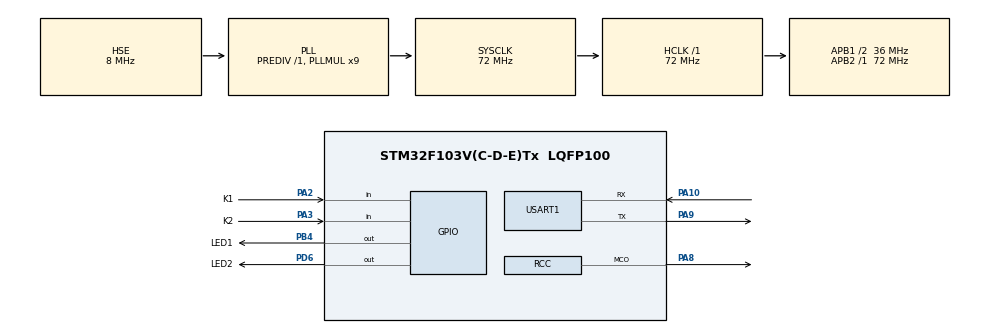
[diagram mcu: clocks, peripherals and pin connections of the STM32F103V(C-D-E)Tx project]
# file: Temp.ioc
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ADC1.Channel-0\#ChannelRegularConversion=ADC_CHANNEL_TEMPSENSOR
ADC1.NbrOfConversionFlag=1
ADC1.Rank-0\#ChannelRegularConversion=1
ADC1.SamplingTime-0\#ChannelRegularConversion=ADC_SAMPLETIME_1CYCLE_5
ADC1.master=1
Mcu.Family=STM32F1
Mcu.Name=STM32F103V(C-D-E)Tx
Mcu.Package=LQFP100
NVIC.PriorityGroup=NVIC_PRIORITYGROUP_4
NVIC.USART1_IRQn=true\:0\:0\:false\:false\:true\:true\:true\:true
OSC_IN.Mode=HSE-External-Oscillator
OSC_IN.Signal=RCC_OSC_IN
OSC_OUT.Mode=HSE-External-Oscillator
OSC_OUT.Signal=RCC_OSC_OUT
PA10.Mode=Asynchronous
PA10.Signal=USART1_RX
PA13.Mode=Serial_Wire
PA13.Signal=SYS_JTMS-SWDIO
PA14.Mode=Serial_Wire
PA14.Signal=SYS_JTCK-SWCLK
PA2.GPIO_Label=K1
PA2.Signal=GPIO_Input
PA3.GPIO_Label=K2
PA3.Signal=GPIO_Input
PA8.Mode=Clock-out
PA8.Signal=RCC_MCO
PA9.Mode=Asynchronous
PA9.Signal=USART1_TX
PB4.GPIO_Label=LED1
PB4.GPIO_ModeDefaultOutputPP=GPIO_MODE_OUTPUT_PP
PB4.GPIO_PuPd=GPIO_PULLUP
PB4.GPIO_Speed=GPIO_SPEED_FREQ_HIGH
PB4.PinState=GPIO_PIN_SET
PB4.Signal=GPIO_Output
PC14-OSC32_IN.Mode=LSE-External-Oscillator
PC14-OSC32_IN.Signal=RCC_OSC32_IN
PC15-OSC32_OUT.Mode=LSE-External-Oscillator
PC15-OSC32_OUT.Signal=RCC_OSC32_OUT
PD6.GPIO_Label=LED2
PD6.GPIO_ModeDefaultOutputPP=GPIO_MODE_OUTPUT_PP
PD6.GPIO_PuPd=GPIO_PULLUP
PD6.GPIO_Speed=GPIO_SPEED_FREQ_HIGH
PD6.PinState=GPIO_PIN_SET
PD6.Signal=GPIO_Output
ProjectManager.HeapSize=0x200
ProjectManager.StackSize=0x400
ProjectManager.TargetToolchain=Makefile
RCC.ADCPresc=RCC_ADCPCLK2_DIV6
RCC.AHBFreq_Value=72000000
RCC.APB1CLKDivider=RCC_HCLK_DIV2
RCC.APB1Freq_Value=36000000
RCC.APB1TimFreq_Value=72000000
RCC.APB2Freq_Value=72000000
RCC.APB2TimFreq_Value=72000000
RCC.HCLKFreq_Value=72000000
RCC.PLLMUL=RCC_PLL_MUL9
RCC.PLLSourceVirtual=RCC_PLLSOURCE_HSE
RCC.RCC_MCOSource=RCC_MCO1SOURCE_PLLCLK
RCC.SYSCLKFreq_VALUE=72000000
RCC.SYSCLKSource=RCC_SYSCLKSOURCE_PLLCLK
RCC.USBFreq_Value=72000000
USART1.VirtualMode=VM_ASYNC
VP_ADC1_TempSens_Input.Mode=IN-TempSens
board=custom

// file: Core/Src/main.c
/* USER CODE BEGIN Header */
/**
  ******************************************************************************
  * @file           : main.c
  * @brief          : Main program body
  ******************************************************************************
  * @attention
  *
  * Copyright (c) 2025 STMicroelectronics.
  * All rights reserved.
  *
  * This software is licensed under terms that can be found in the LICENSE file
  * in the root directory of this software component.
  * If no LICENSE file comes with this software, it is provided AS-IS.
  *
  ******************************************************************************
  */
/* USER CODE END Header */
#include "main.h"

/* USER CODE BEGIN Includes */
#include "stdio.h"//printf函数
/* USER CODE END Includes */

/* USER CODE BEGIN PTD */
uint8_t rx_buff[100];  //接收缓存
uint8_t rx_done = 0; //接收完成标志
uint8_t rx_cnt = 0;//接收数据长度
/* USER CODE END PTD */

ADC_HandleTypeDef hadc1;

UART_HandleTypeDef huart1;

/* USER CODE BEGIN PV */
void FLASH_Inside_Wr(uint32_t addr, uint32_t Pdata);
uint32_t FLASH_Inside_Rd(uint32_t addr);
void FLASH_Inside_Test(void);

/* USER CODE END PV */

void SystemClock_Config(void);
static void MX_GPIO_Init(void);
static void MX_USART1_UART_Init(void);
static void MX_ADC1_Init(void);
/* USER CODE BEGIN PFP */
void Get_MCU_Info(void);
void Get_Temp(void);
/* USER CODE END PFP */

int main(void)
{

  /* MCU Configuration--------------------------------------------------------*/

  /* Reset of all peripherals, Initializes the Flash interface and the Systick. */
  HAL_Init();

  /* Configure the system clock */
  SystemClock_Config();

  /* Initialize all configured peripherals */
  MX_GPIO_Init();
  MX_USART1_UART_Init();
  MX_ADC1_Init();
  /* USER CODE BEGIN 2 */
 // HAL_Delay(1000);
 // Get_MCU_Info();
  /* USER CODE END 2 */

  /* Infinite loop */
  while (1)
  {

    /* USER CODE BEGIN 3 */
      //采集温度
      Get_Temp();
  }
  /* USER CODE END 3 */
}

void SystemClock_Config(void)
{
  RCC_OscInitTypeDef RCC_OscInitStruct = {0};
  RCC_ClkInitTypeDef RCC_ClkInitStruct = {0};
  RCC_PeriphCLKInitTypeDef PeriphClkInit = {0};

  /** Initializes the RCC Oscillators according to the specified parameters
  * in the RCC_OscInitTypeDef structure.
  */
  RCC_OscInitStruct.OscillatorType = RCC_OSCILLATORTYPE_HSE;
  RCC_OscInitStruct.HSEState = RCC_HSE_ON;
  RCC_OscInitStruct.HSEPredivValue = RCC_HSE_PREDIV_DIV1;
  RCC_OscInitStruct.HSIState = RCC_HSI_ON;
  RCC_OscInitStruct.PLL.PLLState = RCC_PLL_ON;
  RCC_OscInitStruct.PLL.PLLSource = RCC_PLLSOURCE_HSE;
  RCC_OscInitStruct.PLL.PLLMUL = RCC_PLL_MUL9;
  if (HAL_RCC_OscConfig(&RCC_OscInitStruct) != HAL_OK)
  {
    Error_Handler();
  }

  /** Initializes the CPU, AHB and APB buses clocks
  */
  RCC_ClkInitStruct.ClockType = RCC_CLOCKTYPE_HCLK|RCC_CLOCKTYPE_SYSCLK
                              |RCC_CLOCKTYPE_PCLK1|RCC_CLOCKTYPE_PCLK2;
  RCC_ClkInitStruct.SYSCLKSource = RCC_SYSCLKSOURCE_PLLCLK;
  RCC_ClkInitStruct.AHBCLKDivider = RCC_SYSCLK_DIV1;
  RCC_ClkInitStruct.APB1CLKDivider = RCC_HCLK_DIV2;
  RCC_ClkInitStruct.APB2CLKDivider = RCC_HCLK_DIV1;

  if (HAL_RCC_ClockConfig(&RCC_ClkInitStruct, FLASH_LATENCY_2) != HAL_OK)
  {
    Error_Handler();
  }
  PeriphClkInit.PeriphClockSelection = RCC_PERIPHCLK_ADC;
  PeriphClkInit.AdcClockSelection = RCC_ADCPCLK2_DIV6;
  if (HAL_RCCEx_PeriphCLKConfig(&PeriphClkInit) != HAL_OK)
  {
    Error_Handler();
  }
  HAL_RCC_MCOConfig(RCC_MCO, RCC_MCO1SOURCE_PLLCLK, RCC_MCODIV_1);
}

static void MX_ADC1_Init(void)
{

  ADC_ChannelConfTypeDef sConfig = {0};

  /** Common config
  */
  hadc1.Instance = ADC1;
  hadc1.Init.ScanConvMode = ADC_SCAN_DISABLE;
  hadc1.Init.ContinuousConvMode = DISABLE;
  hadc1.Init.DiscontinuousConvMode = DISABLE;
  hadc1.Init.ExternalTrigConv = ADC_SOFTWARE_START;
  hadc1.Init.DataAlign = ADC_DATAALIGN_RIGHT;
  hadc1.Init.NbrOfConversion = 1;
  if (HAL_ADC_Init(&hadc1) != HAL_OK)
  {
    Error_Handler();
  }

  /** Configure Regular Channel
  */
  sConfig.Channel = ADC_CHANNEL_TEMPSENSOR;
  sConfig.Rank = ADC_REGULAR_RANK_1;
  sConfig.SamplingTime = ADC_SAMPLETIME_1CYCLE_5;
  if (HAL_ADC_ConfigChannel(&hadc1, &sConfig) != HAL_OK)
  {
    Error_Handler();
  }

}

static void MX_USART1_UART_Init(void)
{

  huart1.Instance = USART1;
  huart1.Init.BaudRate = 115200;
  huart1.Init.WordLength = UART_WORDLENGTH_8B;
  huart1.Init.StopBits = UART_STOPBITS_1;
  huart1.Init.Parity = UART_PARITY_NONE;
  huart1.Init.Mode = UART_MODE_TX_RX;
  huart1.Init.HwFlowCtl = UART_HWCONTROL_NONE;
  huart1.Init.OverSampling = UART_OVERSAMPLING_16;
  if (HAL_UART_Init(&huart1) != HAL_OK)
  {
    Error_Handler();
  }
  /* USER CODE BEGIN USART1_Init 2 */
  //�?启接收中断，空闲中断
  __HAL_UART_ENABLE_IT(&huart1,UART_IT_IDLE|UART_IT_RXNE);
  /* USER CODE END USART1_Init 2 */

}

static void MX_GPIO_Init(void)
{
  GPIO_InitTypeDef GPIO_InitStruct = {0};

  /* GPIO Ports Clock Enable */
  __HAL_RCC_GPIOC_CLK_ENABLE();
  __HAL_RCC_GPIOA_CLK_ENABLE();
  __HAL_RCC_GPIOD_CLK_ENABLE();
  __HAL_RCC_GPIOB_CLK_ENABLE();

  /*Configure GPIO pin Output Level */
  HAL_GPIO_WritePin(LED2_GPIO_Port, LED2_Pin, GPIO_PIN_SET);

  /*Configure GPIO pin Output Level */
  HAL_GPIO_WritePin(LED1_GPIO_Port, LED1_Pin, GPIO_PIN_SET);

  /*Configure GPIO pins : K1_Pin K2_Pin */
  GPIO_InitStruct.Pin = K1_Pin|K2_Pin;
  GPIO_InitStruct.Mode = GPIO_MODE_INPUT;
  GPIO_InitStruct.Pull = GPIO_NOPULL;
  HAL_GPIO_Init(GPIOA, &GPIO_InitStruct);

  /*Configure GPIO pin : PA8 */
  GPIO_InitStruct.Pin = GPIO_PIN_8;
  GPIO_InitStruct.Mode = GPIO_MODE_AF_PP;
  GPIO_InitStruct.Speed = GPIO_SPEED_FREQ_LOW;
  HAL_GPIO_Init(GPIOA, &GPIO_InitStruct);

  /*Configure GPIO pin : LED2_Pin */
  GPIO_InitStruct.Pin = LED2_Pin;
  GPIO_InitStruct.Mode = GPIO_MODE_OUTPUT_PP;
  GPIO_InitStruct.Pull = GPIO_PULLUP;
  GPIO_InitStruct.Speed = GPIO_SPEED_FREQ_HIGH;
  HAL_GPIO_Init(LED2_GPIO_Port, &GPIO_InitStruct);

  /*Configure GPIO pin : LED1_Pin */
  GPIO_InitStruct.Pin = LED1_Pin;
  GPIO_InitStruct.Mode = GPIO_MODE_OUTPUT_PP;
  GPIO_InitStruct.Pull = GPIO_PULLUP;
  GPIO_InitStruct.Speed = GPIO_SPEED_FREQ_HIGH;
  HAL_GPIO_Init(LED1_GPIO_Port, &GPIO_InitStruct);

}

/* USER CODE BEGIN 4 */
#ifdef __GNUC__
#define PUTCHAR_PROTOTYPE int __io_putchar(int ch)
#else
#define PUTCHAR_PROTOTYPE int fputc(int ch,FILE *f)
#endif /* __GNUC__ */
//重定向printf函数
PUTCHAR_PROTOTYPE
{
    HAL_UART_Transmit(&huart1,(uint8_t *)&ch,1,HAL_MAX_DELAY);//输出指向串口USART1
    return ch;
}
/**
 * @brief �?内部FLASH写入数据
 * @param addr 写入地址
 * @param pdata 存储待写数据
 * @retval None
 */
void FLASH_Inside_Wr(uint32_t addr, uint32_t Pdata)
{
  // 定义�?部变�?
  uint32_t PageError = 0;
  HAL_StatusTypeDef HAL_Status;
  // 擦除配置信息结构体，包括擦除地址、方式�?�页数等
  FLASH_EraseInitTypeDef pEraseInit;
  pEraseInit.TypeErase = FLASH_TYPEERASE_PAGES; // 按页擦除
  pEraseInit.PageAddress = addr;                // 擦除地址
  pEraseInit.NbPages = 1;                       // 擦除页数�?
  // step1 解锁内部FLASH，允许读写功�?
  HAL_FLASH_Unlock();
  // step2 �?始擦除addr对应�?
  HAL_Status = HAL_FLASHEx_Erase(&pEraseInit, &PageError); // 擦除
  if (HAL_Status != HAL_OK)
    printf("内部FlASH擦除失败!\r\n");
  // step3 写入数据
  HAL_FLASH_Program(FLASH_TYPEPROGRAM_WORD, addr, Pdata);
  // step4 锁定FLASH
  HAL_FLASH_Lock();
}
/**
 * @brief 读取内部FLASH数据
 * @param addr 读取地址
 * @retval 读出的数�?
 */
uint32_t FLASH_Inside_Rd(uint32_t addr)
{
  // 定义�?部变�?
  uint32_t RdData = 0;
  // step1 解锁内部FLASH，允许读写功�?
  HAL_FLASH_Unlock();
  RdData = *(__IO uint32_t *)addr;
  // step2 锁定FLASH
  HAL_FLASH_Lock();

  return RdData;
}
/**
 * @brief 内部FLASH读写测试
 */
void FLASH_Inside_Test(void)
{
  printf("\r\n\r\n------------------on chip FLASH write/read test------------------\r\n\r\n");
  uint32_t addr = 0x08010000;   // 确保该地�?内部FLASH是空余的�?
  uint32_t WrData = 0x01234567; // 待写入数�?
  uint32_t RdData = 0;          // 存储读取数据

  printf("addr:0x%x write data:0x%x\r\n", addr, WrData);
  FLASH_Inside_Wr(addr, WrData);  // 写入数据
  RdData = FLASH_Inside_Rd(addr); // 读取数据
  printf("addr:0x%x  read data:0x%x\r\n", addr, RdData);
}
/**
 * @brief 获取MCU设备信息
 */
void Get_MCU_Info(void)
{
    printf("\r\n\r\n------------------get mcu information------------------\r\n\r\n");
    uint32_t  FLASH_Size_Addr = 0x1FFFF7E0;//FLASH大小存储地址
    //获取存储器大�?
    printf("FLASH  Size: %dKB\r\n",*(uint16_t *)FLASH_Size_Addr);
    //获取HAL版本
    uint32_t HALVer = HAL_GetHalVersion();
    printf("HAL Version: V%d.%d.%d\r\n",HALVer>>24,(HALVer>>16)&0xFF,(HALVer>>8)&0xFF);
   //获取保留ID�?
    printf("Revision ID: 0x%X\r\n",HAL_GetREVID());
    //获取全球唯一UID
    printf("Unique ID(UID): 0x%08X %08X %08X\r\n",HAL_GetUIDw0(),HAL_GetUIDw1(),HAL_GetUIDw2());

    //获取设备ID
    printf("Device ID or Chip ID or Product ID(PID): 0x%x\r\n",HAL_GetDEVID());

}
/**
  * @brief 读取内部温度传感器
  */
 void Get_Temp(void)
 {
     uint32_t Temp;//温度采样分层值
     float Vsense = 0.0;//温度采样电压值
     float Temperature = 0.0;//温度值
     //数据手册温度转换公式：T = ((V25-Vsense)/Avg_Slope) + 25
     float V25 = 1.43;//查阅手册获得
     float Avg_Slope = 0.0043;//4.3mV/摄氏度
     printf("\r\n\r\n------------------MCU inside Temperature sensor------------------\r\n\r\n");
     //step1 启动ADC
     HAL_ADC_Start(&hadc1);
     //step2 温度采集转换
     HAL_ADC_PollForConversion(&hadc1,5);
     //step3 转换计算
     Temp = HAL_ADC_GetValue(&hadc1);//获取采样值分层值
     Vsense = Temp *(3.3/4096);//采样精度12bit,最大分层值4096
     Temperature = ((V25-Vsense)/Avg_Slope) + 25;//按公式计算温度值
     //step4 串口打印
     printf("Temp:%d\r\nVsense:%0.3f\r\nTemperature:%0.3f\r\n", (int)Temp, Vsense, Temperature);
     HAL_Delay(1000);
 }
/* USER CODE END 4 */

void Error_Handler(void)
{
  __disable_irq();
  while (1)
  {
  }
}
